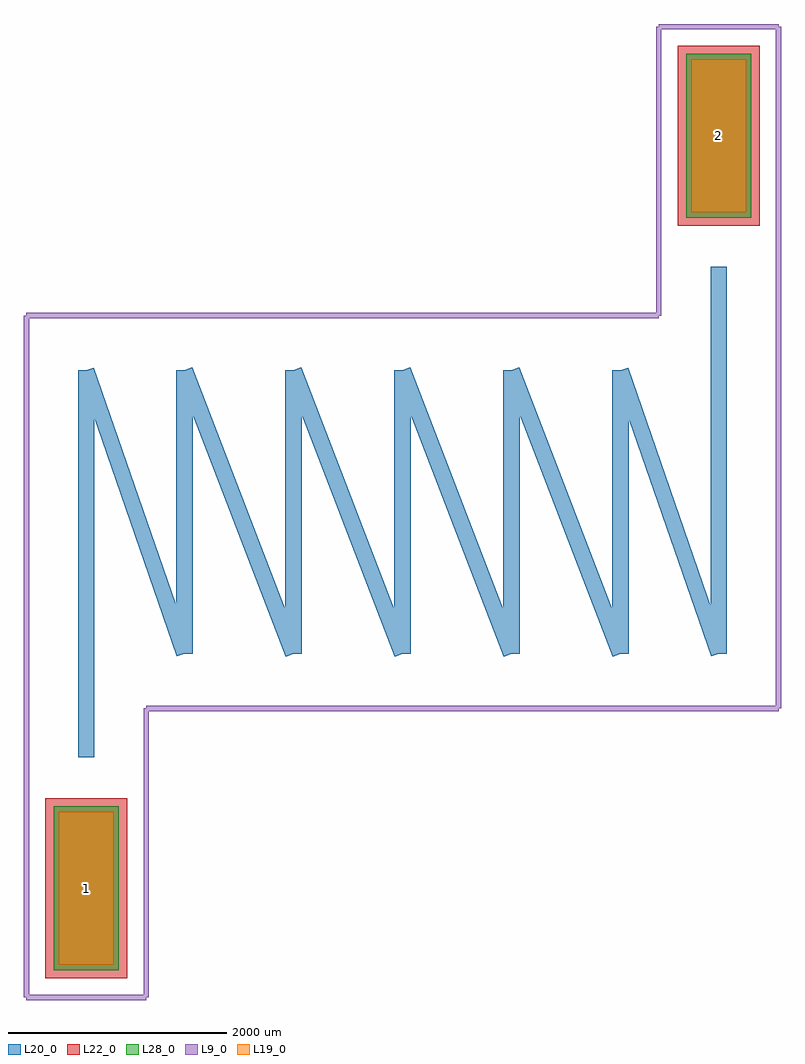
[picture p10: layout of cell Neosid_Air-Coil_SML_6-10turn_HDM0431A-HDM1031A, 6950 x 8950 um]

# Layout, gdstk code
import gdstk
lib = gdstk.Library(unit=1e-6, precision=1e-09)
def R(c, l, rs):  # rectangles x0, y0, x1, y1
    for r in rs: c.add(gdstk.rectangle(r[:2], r[2:], *l))
L9_0 = (9, 0)
L19_0 = (19, 0)
L20_0 = (20, 0)
L22_0 = (22, 0)
L28_0 = (28, 0)

neosid_air_coil_sml_6_10 = lib.new_cell('Neosid_Air-Coil_SML_6-10turn_HDM0431A-HDM1031A')
R(neosid_air_coil_sml_6_10, L19_0, [(-3150,-4150,-2650,-2750), (2650,2750,3150,4150)])
R(neosid_air_coil_sml_6_10, L22_0, [(-3275,-4275,-2525,-2625), (2525,2625,3275,4275)])
R(neosid_air_coil_sml_6_10, L28_0, [(-3200,-4200,-2600,-2700), (2600,2700,3200,4200)])
neosid_air_coil_sml_6_10.add(gdstk.FlexPath([(2900,-1300),(2900,2250)], 149.998, ends="flush", simple_path=True, layer=20, datatype=0))  # L20_0
neosid_air_coil_sml_6_10.add(gdstk.FlexPath([(-2900,1300),(-2900,-2250)], 149.998, ends="flush", simple_path=True, layer=20, datatype=0))  # L20_0
neosid_air_coil_sml_6_10.add(gdstk.FlexPath([(-2000,1300),(-2000,-1300)], 149.998, ends="flush", simple_path=True, layer=20, datatype=0))  # L20_0
neosid_air_coil_sml_6_10.add(gdstk.FlexPath([(-1000,1300),(-1000,-1300)], 149.998, ends="flush", simple_path=True, layer=20, datatype=0))  # L20_0
neosid_air_coil_sml_6_10.add(gdstk.FlexPath([(1000,1300),(1000,-1300)], 149.998, ends="flush", simple_path=True, layer=20, datatype=0))  # L20_0
neosid_air_coil_sml_6_10.add(gdstk.FlexPath([(2000,1300),(2000,-1300)], 149.998, ends="flush", simple_path=True, layer=20, datatype=0))  # L20_0
neosid_air_coil_sml_6_10.add(gdstk.FlexPath([(-2900,1300),(-2000,-1300)], 149.998, ends="flush", simple_path=True, layer=20, datatype=0))  # L20_0
neosid_air_coil_sml_6_10.add(gdstk.FlexPath([(-2000,1300),(-1000,-1300)], 149.998, ends="flush", simple_path=True, layer=20, datatype=0))  # L20_0
neosid_air_coil_sml_6_10.add(gdstk.FlexPath([(-1000,1300),(0,-1300)], 149.998, ends="flush", simple_path=True, layer=20, datatype=0))  # L20_0
neosid_air_coil_sml_6_10.add(gdstk.FlexPath([(0,1300),(1000,-1300)], 149.998, ends="flush", simple_path=True, layer=20, datatype=0))  # L20_0
neosid_air_coil_sml_6_10.add(gdstk.FlexPath([(1000,1300),(2000,-1300)], 149.998, ends="flush", simple_path=True, layer=20, datatype=0))  # L20_0
neosid_air_coil_sml_6_10.add(gdstk.FlexPath([(2000,1300),(2900,-1300)], 149.998, ends="flush", simple_path=True, layer=20, datatype=0))  # L20_0
neosid_air_coil_sml_6_10.add(gdstk.FlexPath([(-3450,1800),(-3450,-4450)], 50, ends="flush", simple_path=True, layer=9, datatype=0))  # L9_0
neosid_air_coil_sml_6_10.add(gdstk.FlexPath([(2350,1800),(-3450,1800)], 50, ends="flush", simple_path=True, layer=9, datatype=0))  # L9_0
neosid_air_coil_sml_6_10.add(gdstk.FlexPath([(2350,4450),(2350,1800)], 50, ends="flush", simple_path=True, layer=9, datatype=0))  # L9_0
neosid_air_coil_sml_6_10.add(gdstk.FlexPath([(3450,4450),(2350,4450)], 50, ends="flush", simple_path=True, layer=9, datatype=0))  # L9_0
neosid_air_coil_sml_6_10.add(gdstk.FlexPath([(3450,-1800),(3450,4450)], 50, ends="flush", simple_path=True, layer=9, datatype=0))  # L9_0
neosid_air_coil_sml_6_10.add(gdstk.FlexPath([(-2350,-1800),(3450,-1800)], 50, ends="flush", simple_path=True, layer=9, datatype=0))  # L9_0
neosid_air_coil_sml_6_10.add(gdstk.FlexPath([(-2350,-4450),(-2350,-1800)], 50, ends="flush", simple_path=True, layer=9, datatype=0))  # L9_0
neosid_air_coil_sml_6_10.add(gdstk.FlexPath([(-3450,-4450),(-2350,-4450)], 50, ends="flush", simple_path=True, layer=9, datatype=0))  # L9_0
neosid_air_coil_sml_6_10.add(gdstk.FlexPath([(0,1300),(0,-1300)], 149.998, ends="flush", simple_path=True, layer=20, datatype=0))  # L20_0
neosid_air_coil_sml_6_10.add(gdstk.Label('2', (2900,3450), layer=28, texttype=0))
neosid_air_coil_sml_6_10.add(gdstk.Label('1', (-2900,-3450), layer=28, texttype=0))
neosid_air_coil_sml_6_10.add(gdstk.Label('type', (0,-5500), layer=9, texttype=0))
neosid_air_coil_sml_6_10.add(gdstk.Label('devicename', (0,5500), layer=9, texttype=0))

lib.write_gds('Neosid_Air-Coil_SML_6-10turn_HDM0431A-HDM1031A.gds')
